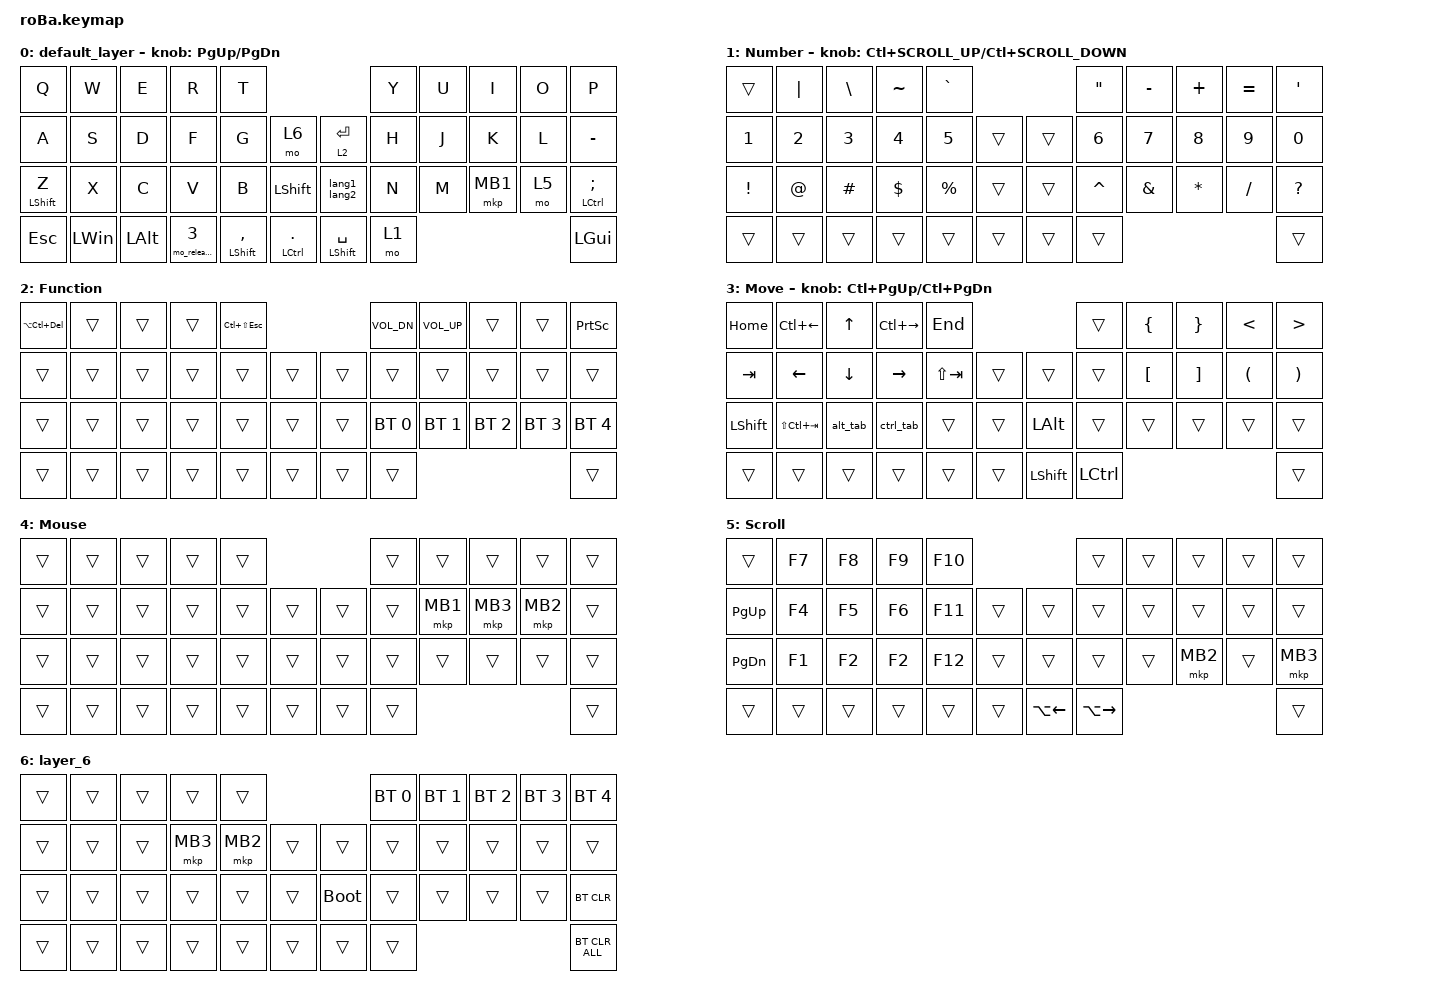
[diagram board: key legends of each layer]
#include <behaviors.dtsi>
#include <dt-bindings/zmk/bt.h>
#include <dt-bindings/zmk/keys.h>
#include <dt-bindings/zmk/pointing.h>
#include <dt-bindings/zmk/pointing.h>

// #define MOUSE 4
#define SCROLL 5
#define NUM 6
#define ZMK_POINTING_DEFAULT_SCRL_VAL 100

&mt {
    flavor = "balanced";
    quick-tap-ms = <0>;
};

// key positions
// 00 01 02 03 04|         |05 06 07 08 09 
// 10 11 12 13 14|15|   |16|17 18 19 20 21
// 22 23 24 25 26|27|   |28|29 30 31 32 33
// 34 35 35|37 38 39|   |40 41|         42
/ {
    combos {
        compatible = "zmk,combos";

        Enter {
            bindings = <&kp ENTER>;
            key-positions = <18 19>;
            layers = <0 1 3>;
        };

        shift_enter {
            bindings = <&kp LS(ENTER)>;
            key-positions = <17 18>;
            layers = <0 3 1>;
        };

        delete {
            bindings = <&kp DEL>;
            key-positions = <6 7>;
            layers = <0 3 1>;
        };

        back_space {
            bindings = <&kp BACKSPACE>;
            key-positions = <7 8>;
            layers = <0 1 3>;
        };

        close_window {
            bindings = <&kp LA(F4)>;
            key-positions = <0 9>;
        };

        cap_word {
            bindings = <&caps_word>;
            key-positions = <40 21>;
        };
    };

    macros {
        to_layer_0: to_layer_0 {
            compatible = "zmk,behavior-macro-one-param";
            #binding-cells = <1>;
            bindings = <&to 0 &macro_param_1to1 &kp MACRO_PLACEHOLDER>;
            label = "TO_LAYER_0";
        };

        alt_tab: macro_alt_tab_hold {
            compatible = "zmk,behavior-macro";
            wait-ms = <0>;
            tap-ms = <0>;
            #binding-cells = <0>;
            bindings = 
                <&macro_press &kp LEFT_ALT>,
                <&macro_tap &kp TAB>;
            label = "ALT_TAB_HOLD";
        };

        ctrl_tab: macro_ctrl_tab_hold {
            compatible = "zmk,behavior-macro";
            wait-ms = <0>;
            tap-ms = <0>;
            #binding-cells = <0>;
            bindings = 
                <&macro_press &kp LEFT_CONTROL>,
                <&macro_tap &kp TAB>;
            label = "CTRL_TAB_HOLD";
        };       
     
        mo_release_ac: mo_release_ac {
            compatible = "zmk,behavior-macro-one-param";
            wait-ms = <0>;
            tap-ms = <0>;
            #binding-cells = <1>;
            bindings = 
                <&macro_param_1to1>,
                <&macro_press &mo MACRO_PLACEHOLDER>,
                <&macro_pause_for_release>,
                <&macro_release>,
                <&kp LEFT_ALT &kp LEFT_CONTROL &kp LEFT_ALT &kp LEFT_CONTROL &kp LEFT_ALT &kp LEFT_CONTROL &kp LEFT_ALT &kp LEFT_CONTROL &kp LEFT_ALT &kp LEFT_CONTROL &kp LEFT_ALT &kp LEFT_CONTROL &kp LEFT_ALT &kp LEFT_CONTROL 
                 &kp LEFT_ALT &kp LEFT_CONTROL &kp LEFT_ALT &kp LEFT_CONTROL &kp LEFT_ALT &kp LEFT_CONTROL &kp LEFT_ALT &kp LEFT_CONTROL>,
                <&macro_param_1to1>,
                <&macro_release &mo MACRO_PLACEHOLDER>;
        };
    };

    behaviors {
        lt_to_layer_0: lt_to_layer_0 {
            compatible = "zmk,behavior-hold-tap";
            label = "LAYER_TAP_TO_0";
            bindings = <&mo>, <&to_layer_0>;

            #binding-cells = <2>;
            tapping-term-ms = <200>;
        };

        lang1_lang2: lang1_lang2 {
            compatible = "zmk,behavior-tap-dance";
            label = "LANG1_LANG2";
            #binding-cells = <0>;
            tapping-term-ms = <400>;
            bindings = <&kp LANGUAGE_2>, <&kp LANGUAGE_1>;
        };
    };

    keymap {
        compatible = "zmk,keymap";

        default_layer {
            bindings = <
&kp Q       &kp W         &kp E         &kp R               &kp T                                                             &kp Y  &kp U  &kp I     &kp O  &kp P
&kp A       &kp S         &kp D         &kp F               &kp G                 &mo 6               &lt_to_layer_0 2 ENTER  &kp H  &kp J  &kp K     &kp L  &kp MINUS
&mt LSHFT Z &kp X         &kp C         &kp V               &kp B                 &kp LEFT_SHIFT      &lang1_lang2            &kp N  &kp M  &mkp MB1  &mo 5  &mt LCTRL SEMI
&kp ESCAPE  &kp LEFT_WIN  &kp LEFT_ALT  &mo_release_ac 3   &mt LEFT_SHIFT COMMA  &mt LCTRL DOT       &mt LEFT_SHIFT SPACE    &mo 1                          &kp LEFT_GUI
            >;

            sensor-bindings = <&inc_dec_kp PG_UP PAGE_DOWN>;
        };

        Number {
            bindings = <
&trans        &kp PIPE      &kp BACKSLASH  &kp TILDE     &kp GRAVE                      &kp DOUBLE_QUOTES   &kp MINUS       &kp PLUS      &kp EQUAL     &kp SINGLE_QUOTE
&kp NUMBER_1  &kp NUMBER_2  &kp NUMBER_3   &kp NUMBER_4  &kp N5     &trans      &trans  &kp NUMBER_6        &kp NUMBER_7    &kp NUMBER_8  &kp NUMBER_9  &kp N0
&kp EXCL      &kp AT        &kp HASH       &kp DLLR      &kp PRCNT  &trans      &trans  &kp CARET           &kp AMPERSAND   &kp ASTERISK  &kp FSLH      &kp QMARK
&trans        &trans        &trans         &trans        &trans     &trans      &trans  &trans                                                       &trans
            >;

            sensor-bindings = <&inc_dec_kp LC(K_SCROLL_UP) LC(K_SCROLL_DOWN)>;
        };

        Function {
            bindings = <
&kp LA(LC(DELETE))  &trans  &trans  &trans  &kp LC(LS(ESC))                    &kp C_VOL_DN  &kp C_VOLUME_UP  &trans        &trans          &kp PRINTSCREEN
&trans              &trans  &trans  &trans  &trans                 &trans      &trans  &trans        &trans           &trans        &trans          &trans
&trans              &trans  &trans  &trans  &trans                 &trans      &trans  &bt BT_SEL 0  &bt BT_SEL 1     &bt BT_SEL 2  &bt BT_SEL 3    &bt BT_SEL 4
&trans              &trans  &trans  &trans  &trans                 &trans      &trans  &trans                                                       &trans
            >;
        };

        Move {
            bindings = <
&kp HOME        &kp LC(LEFT_ARROW)  &kp UP_ARROW        &kp LC(RIGHT)    &kp END                                  &trans            &kp LBRC          &kp RBRC           &kp LT    &kp GT
&kp TAB         &kp LEFT_ARROW      &kp DOWN_ARROW      &kp RIGHT_ARROW  &kp LS(TAB)  &trans      &trans          &trans            &kp LEFT_BRACKET  &kp RIGHT_BRACKET  &kp LPAR  &kp RPAR
&kp LEFT_SHIFT  &kp LS(LC(TAB))     &alt_tab            &ctrl_tab        &trans       &trans      &kp LEFT_ALT    &trans            &trans            &trans             &trans    &trans
&trans          &trans              &trans              &trans           &trans       &trans      &kp LEFT_SHIFT  &kp LEFT_CONTROL                                                 &trans
            >;

            sensor-bindings = <&inc_dec_kp LC(PAGE_UP) LC(PAGE_DOWN)>;
        };

        Mouse {
            bindings = <
&trans  &trans  &trans  &trans  &trans                      &trans  &trans    &trans    &trans    &trans
&trans  &trans  &trans  &trans  &trans  &trans      &trans  &trans  &mkp MB1  &mkp MB3  &mkp MB2  &trans
&trans  &trans  &trans  &trans  &trans  &trans      &trans  &trans  &trans    &trans    &trans    &trans
&trans  &trans  &trans  &trans  &trans  &trans      &trans  &trans                                &trans
            >;
        };

        Scroll {
            bindings = <
&trans          &kp F7  &kp F8  &kp F9  &kp F10                        &trans    &trans  &trans    &trans  &trans
&kp PAGE_UP     &kp F4  &kp F5  &kp F6  &kp F11  &trans      &trans    &trans    &trans  &trans    &trans  &trans
&kp PAGE_DOWN   &kp F1  &kp F2  &kp F2  &kp F12  &trans      &trans    &trans    &trans  &mkp MB2  &trans  &mkp MB3
&trans          &trans  &trans  &trans  &trans   &trans      &kp LA(LEFT_ARROW)  &kp LA(RIGHT_ARROW)       &trans
            >;
        };

        layer_6 {
            bindings = <
&trans  &trans  &trans  &trans      &trans                               &bt BT_SEL 0  &bt BT_SEL 1  &bt BT_SEL 2  &bt BT_SEL 3  &bt BT_SEL 4
&trans  &trans  &trans  &mkp MB3    &mkp MB2    &trans      &trans       &trans        &trans        &trans        &trans        &trans
&trans  &trans  &trans  &trans      &trans      &trans      &bootloader  &trans        &trans        &trans        &trans        &bt BT_CLR
&trans  &trans  &trans  &trans      &trans      &trans      &trans       &trans                                                  &bt BT_CLR_ALL
            >;
        };
    };
};
